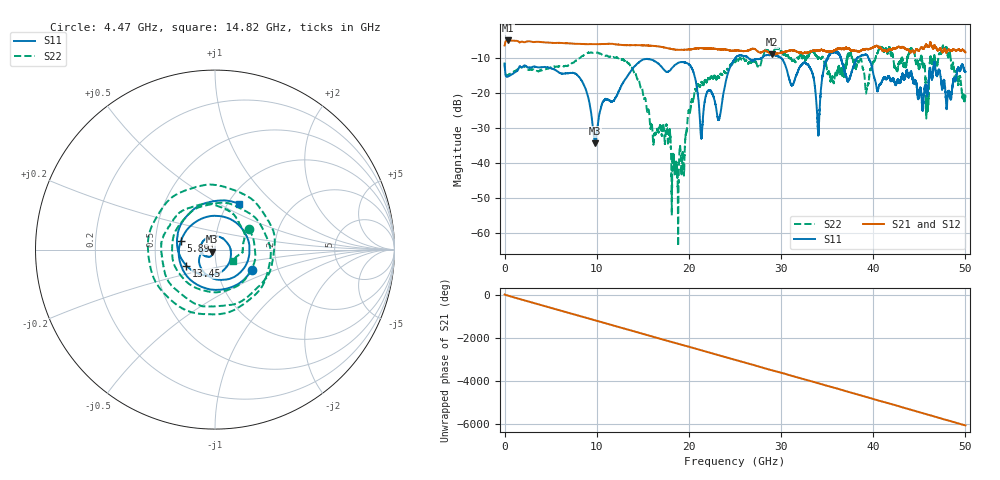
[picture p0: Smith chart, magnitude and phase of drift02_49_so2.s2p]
!Created with skrf (http://scikit-rf.org).
# Hz S RI R 50.0
!freq ReS11 ImS11 ReS21 ImS21 ReS12 ImS12 ReS22 ImS22
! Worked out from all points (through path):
!   10001 points, 300 kHz to 50 GHz, reference 50 ohm
!   highest |S21| = -5.04 dB at 325.3 MHz (marker M1); lowest = -9.0 dB at 29.01 GHz (marker M2)
!   group delay of S21, straight-line fit = 336 ps
!   lowest |S11| = -34.4 dB at 9.84 GHz (marker M3), VSWR 1.04, Z = 48.4 - j1.05 ohm
!   |S11| at or under -10 dB: start of sweep to 25.08 GHz; 29.97 GHz to 35.06 GHz (5.088 GHz wide, 15.6 % of centre); 39.48 GHz to end of sweep (the widest 3 of 10)
!   |S22| runs from -63.8 to -6.4 dB; largest |S21 - S12| = 0.021
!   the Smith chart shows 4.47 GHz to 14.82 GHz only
!   S11 on the Smith chart (normalised r, x): 4.47 GHz: 1.46, -0.35; 5.89 GHz: 0.68, +0.07; 13.45 GHz: 0.71, -0.13; 14.82 GHz: 1.13, +0.63
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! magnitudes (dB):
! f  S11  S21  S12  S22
! 300 kHz  -11.6  -6.5  -6.4  -11.6
! 325.3 MHz  -15.4  -5.0  -5.0  -15.0
! 4.47 GHz  -12.7  -5.6  -5.6  -13.2
! 5.89 GHz  -14.2  -5.7  -5.7  -12.5
! 8.335 GHz  -16.4  -6.0  -6.0  -9.6
! 9.84 GHz  -34.4  -6.1  -6.1  -8.5
! 13.45 GHz  -14.7  -6.4  -6.4  -11.6
! 14.82 GHz  -10.8  -6.4  -6.4  -18.5
! 16.67 GHz  -11.6  -6.7  -6.7  -30.9
! 18.68 GHz  -11.7  -7.7  -7.7  -40.8
! 20.37 GHz  -13.3  -7.5  -7.5  -21.8
! 21.37 GHz  -32.9  -7.3  -7.2  -17.0
! 23.31 GHz  -27.4  -7.6  -7.6  -15.6
! 25 GHz  -10.3  -7.9  -8.0  -11.2
! 29.01 GHz  -9.1  -9.0  -9.0  -8.2
! 33.34 GHz  -14.0  -8.0  -8.1  -8.1
! 34.02 GHz  -32.2  -7.9  -7.9  -10.3
! 35.53 GHz  -8.4  -8.2  -8.1  -15.4
! 41.67 GHz  -15.3  -7.7  -7.8  -7.4
! 45.87 GHz  -20.4  -6.8  -6.9  -24.1
! 47.76 GHz  -17.2  -7.5  -7.5  -7.5
! 50 GHz  -14.0  -8.4  -8.4  -20.4
